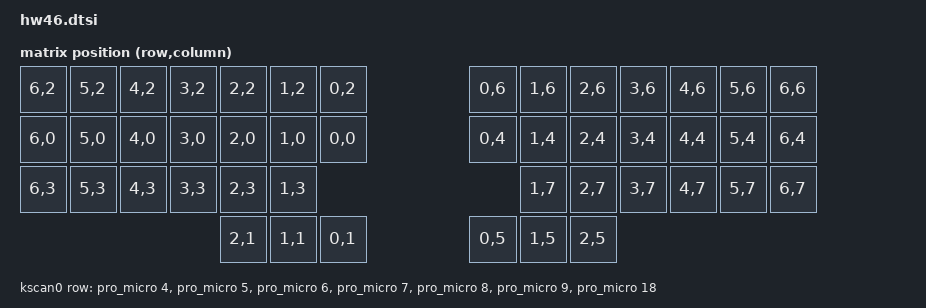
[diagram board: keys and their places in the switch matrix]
#include <dt-bindings/zmk/matrix_transform.h>
#include <physical_layouts.dtsi>

/ {
    kscan0: kscan0 {
        compatible = "zmk,kscan-gpio-matrix";
        diode-direction = "col2row";
        wakeup-source;

        /* rows = stacks S1..S7 (pins 022 024 100 011 104 106 115) */
        row-gpios
            = <&pro_micro 4 (GPIO_ACTIVE_HIGH | GPIO_PULL_DOWN)>
            , <&pro_micro 5 (GPIO_ACTIVE_HIGH | GPIO_PULL_DOWN)>
            , <&pro_micro 6 (GPIO_ACTIVE_HIGH | GPIO_PULL_DOWN)>
            , <&pro_micro 7 (GPIO_ACTIVE_HIGH | GPIO_PULL_DOWN)>
            , <&pro_micro 8 (GPIO_ACTIVE_HIGH | GPIO_PULL_DOWN)>
            , <&pro_micro 9 (GPIO_ACTIVE_HIGH | GPIO_PULL_DOWN)>
            , <&pro_micro 18 (GPIO_ACTIVE_HIGH | GPIO_PULL_DOWN)>
            ;
    };

    /*
     * 46 real keys, in reading order (this is also the order of every layer in the keymap):
     *   row 1 (7+7), row 2 (7+7), row 3 (6+6), thumbs (3+3)
     * Left half lists keys outer -> inner, right half lists inner -> outer.
     * RC(row, column): row = stack S1..S7 -> 0..6 (S1 = innermost column),
     *   column: 002 -> 0, 029 -> 1, 031 -> 2, 111 -> 3 (right half +4).
     * Wiring: 031 = row 1, 002 = row 2, 111 = row 3, 029 = thumb row.
     */
    default_transform: keymap_transform0 {
        compatible = "zmk,matrix-transform";
        columns = <8>;
        rows = <7>;
        map = <
            // row1 left
            RC(6,2) RC(5,2) RC(4,2) RC(3,2) RC(2,2) RC(1,2) RC(0,2)
            // row1 right
            RC(0,6) RC(1,6) RC(2,6) RC(3,6) RC(4,6) RC(5,6) RC(6,6)
            // row2 left
            RC(6,0) RC(5,0) RC(4,0) RC(3,0) RC(2,0) RC(1,0) RC(0,0)
            // row2 right
            RC(0,4) RC(1,4) RC(2,4) RC(3,4) RC(4,4) RC(5,4) RC(6,4)
            // row3 left
            RC(6,3) RC(5,3) RC(4,3) RC(3,3) RC(2,3) RC(1,3)
            // row3 right
            RC(1,7) RC(2,7) RC(3,7) RC(4,7) RC(5,7) RC(6,7)
            // thumb left
            RC(2,1) RC(1,1) RC(0,1)
            // thumb right
            RC(0,5) RC(1,5) RC(2,5)
        >;
    };

    physical_layout0: physical_layout_0 {
        compatible = "zmk,physical-layout";
        display-name = "HW46";
        kscan = <&kscan0>;
        transform = <&default_transform>;

        keys  //                     w   h    x    y   rot  rx  ry
            = <&key_physical_attrs 100 100    0    0 0 0 0>
            , <&key_physical_attrs 100 100  100    0 0 0 0>
            , <&key_physical_attrs 100 100  200    0 0 0 0>
            , <&key_physical_attrs 100 100  300    0 0 0 0>
            , <&key_physical_attrs 100 100  400    0 0 0 0>
            , <&key_physical_attrs 100 100  500    0 0 0 0>
            , <&key_physical_attrs 100 100  600    0 0 0 0>
            , <&key_physical_attrs 100 100  900    0 0 0 0>
            , <&key_physical_attrs 100 100 1000    0 0 0 0>
            , <&key_physical_attrs 100 100 1100    0 0 0 0>
            , <&key_physical_attrs 100 100 1200    0 0 0 0>
            , <&key_physical_attrs 100 100 1300    0 0 0 0>
            , <&key_physical_attrs 100 100 1400    0 0 0 0>
            , <&key_physical_attrs 100 100 1500    0 0 0 0>
            , <&key_physical_attrs 100 100    0  100 0 0 0>
            , <&key_physical_attrs 100 100  100  100 0 0 0>
            , <&key_physical_attrs 100 100  200  100 0 0 0>
            , <&key_physical_attrs 100 100  300  100 0 0 0>
            , <&key_physical_attrs 100 100  400  100 0 0 0>
            , <&key_physical_attrs 100 100  500  100 0 0 0>
            , <&key_physical_attrs 100 100  600  100 0 0 0>
            , <&key_physical_attrs 100 100  900  100 0 0 0>
            , <&key_physical_attrs 100 100 1000  100 0 0 0>
            , <&key_physical_attrs 100 100 1100  100 0 0 0>
            , <&key_physical_attrs 100 100 1200  100 0 0 0>
            , <&key_physical_attrs 100 100 1300  100 0 0 0>
            , <&key_physical_attrs 100 100 1400  100 0 0 0>
            , <&key_physical_attrs 100 100 1500  100 0 0 0>
            , <&key_physical_attrs 100 100    0  200 0 0 0>
            , <&key_physical_attrs 100 100  100  200 0 0 0>
            , <&key_physical_attrs 100 100  200  200 0 0 0>
            , <&key_physical_attrs 100 100  300  200 0 0 0>
            , <&key_physical_attrs 100 100  400  200 0 0 0>
            , <&key_physical_attrs 100 100  500  200 0 0 0>
            , <&key_physical_attrs 100 100 1000  200 0 0 0>
            , <&key_physical_attrs 100 100 1100  200 0 0 0>
            , <&key_physical_attrs 100 100 1200  200 0 0 0>
            , <&key_physical_attrs 100 100 1300  200 0 0 0>
            , <&key_physical_attrs 100 100 1400  200 0 0 0>
            , <&key_physical_attrs 100 100 1500  200 0 0 0>
            , <&key_physical_attrs 100 100  400  300 0 0 0>
            , <&key_physical_attrs 100 100  500  300 0 0 0>
            , <&key_physical_attrs 100 100  600  300 0 0 0>
            , <&key_physical_attrs 100 100  900  300 0 0 0>
            , <&key_physical_attrs 100 100 1000  300 0 0 0>
            , <&key_physical_attrs 100 100 1100  300 0 0 0>
            ;
    };

    chosen {
        zmk,kscan = &kscan0;
        zmk,physical-layout = &physical_layout0;
    };
};
